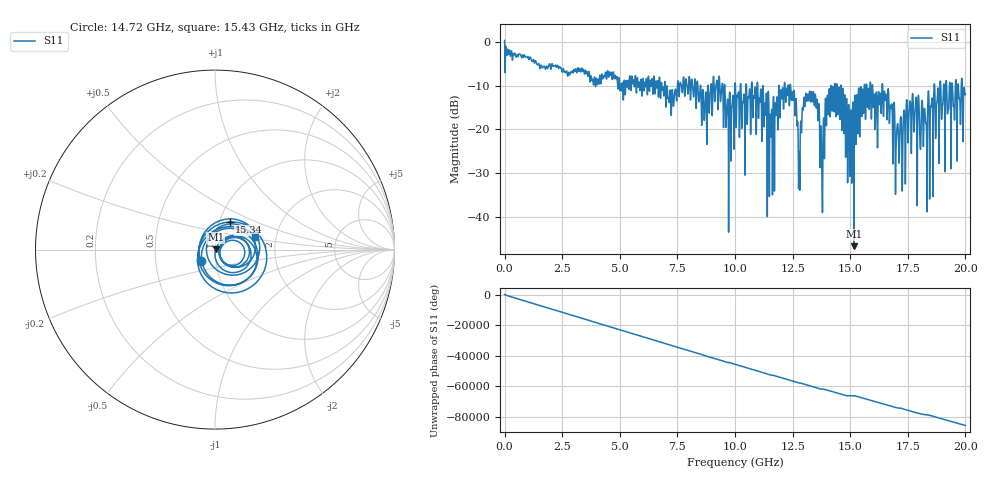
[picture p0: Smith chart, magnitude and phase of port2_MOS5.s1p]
! MS46122B
! 2250307/22442219
! 7/24/2025 12:36:37 PM
! C:\USERS\SPARKY\DOCUMENTS\VNA_DATA\JULY24_2025\295K\PORT2_MOS5.S1P
! CHANNEL.1
! TR.MEASUREMENT
! RAW.DATA
# GHZ S RI R 50.0
! FREQ.GHZ  S11RE  S11IM
!; PortSelection: Port_1
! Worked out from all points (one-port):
!   10001 points, 1 MHz to 20 GHz, reference 50 ohm
!   lowest |S11| = -46.8 dB at 15.16 GHz (marker M1), VSWR 1.01, Z = 50.4 + j0.106 ohm
!   |S11| at or under -10 dB: 12.41 GHz to 14.17 GHz (1.758 GHz wide, 13.2 % of centre); 14.6 GHz to 15.61 GHz (1.012 GHz wide, 6.7 % of centre); 16.41 GHz to 18.64 GHz (2.234 GHz wide, 12.7 % of centre) (the widest 3 of 71)
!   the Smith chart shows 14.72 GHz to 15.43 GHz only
!   S11 on the Smith chart (normalised r, x): 14.72 GHz: 0.84, -0.11; 15.34 GHz: 1.12, +0.36; 15.43 GHz: 1.56, +0.23
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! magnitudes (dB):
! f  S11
! 1 MHz  0.4
! 2.501 GHz  -6.8
! 5.001 GHz  -10.9
! 7.501 GHz  -10.0
! 8.711 GHz  -12.8
! 9.379 GHz  -13.2
! 9.789 GHz  -13.1
! 10 GHz  -9.4
! 11.04 GHz  -13.4
! 11.56 GHz  -20.7
! 11.98 GHz  -11.6
! 12.5 GHz  -12.0
! 12.79 GHz  -26.5
! 13.16 GHz  -11.9
! 13.56 GHz  -13.1
! 13.78 GHz  -32.3
! 14.1 GHz  -10.8
! 14.72 GHz  -19.8
! 15 GHz  -19.5
! 15.16 GHz  -46.8
! 15.34 GHz  -15.2
! 15.43 GHz  -12.6
! 16.57 GHz  -13.0
! 17.05 GHz  -18.8
! 17.5 GHz  -20.3
! 18.26 GHz  -17.2
! 18.73 GHz  -16.0
! 20 GHz  -12.0
